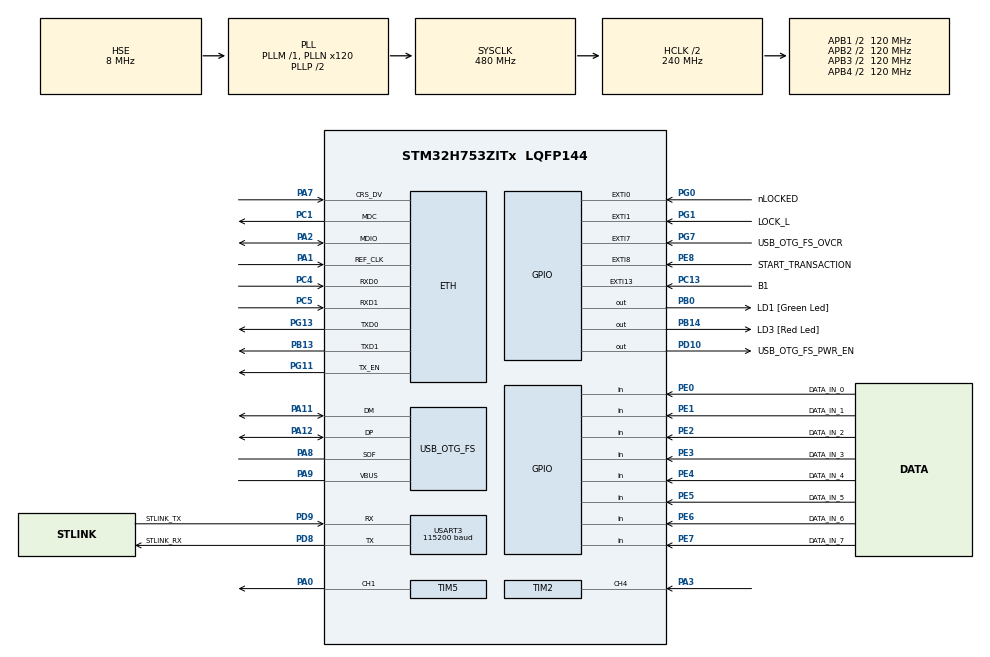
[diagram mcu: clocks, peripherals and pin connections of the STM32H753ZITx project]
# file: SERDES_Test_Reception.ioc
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CORTEX_M7.CPU_DCache=Disabled
CORTEX_M7.CPU_ICache=Disabled
CORTEX_M7.MPU_Control=__NULL
Dma.Request0=TIM2_CH4
Dma.TIM2_CH4.0.Direction=DMA_PERIPH_TO_MEMORY
Dma.TIM2_CH4.0.EventEnable=DISABLE
Dma.TIM2_CH4.0.FIFOMode=DMA_FIFOMODE_DISABLE
Dma.TIM2_CH4.0.Instance=DMA1_Stream1
Dma.TIM2_CH4.0.MemDataAlignment=DMA_MDATAALIGN_BYTE
Dma.TIM2_CH4.0.MemInc=DMA_MINC_ENABLE
Dma.TIM2_CH4.0.Mode=DMA_NORMAL
Dma.TIM2_CH4.0.PeriphDataAlignment=DMA_PDATAALIGN_BYTE
Dma.TIM2_CH4.0.PeriphInc=DMA_PINC_DISABLE
Dma.TIM2_CH4.0.Polarity=HAL_DMAMUX_REQ_GEN_RISING
Dma.TIM2_CH4.0.Priority=DMA_PRIORITY_LOW
Dma.TIM2_CH4.0.RequestNumber=1
Dma.TIM2_CH4.0.SignalID=NONE
Dma.TIM2_CH4.0.SyncEnable=DISABLE
Dma.TIM2_CH4.0.SyncPolarity=HAL_DMAMUX_SYNC_NO_EVENT
Dma.TIM2_CH4.0.SyncRequestNumber=1
Dma.TIM2_CH4.0.SyncSignalID=NONE
ETH.ETH_RX_DESC_CNT=4
ETH.ETH_TX_DESC_CNT=4
ETH.MACAddr=00\:80\:E1\:00\:00\:00
ETH.MediaInterface=HAL_ETH_RMII_MODE
ETH.RxBuffAddress=0x30040200
ETH.RxBuffLen=1524
ETH.RxDescAddress=0x30040000
ETH.TxDescAddress=0x30040060
Mcu.Family=STM32H7
Mcu.Name=STM32H753ZITx
Mcu.Package=LQFP144
NVIC.DMA1_Stream1_IRQn=true\:0\:0\:false\:false\:true\:false\:true\:true
NVIC.EXTI0_IRQn=true\:0\:0\:false\:false\:true\:true\:true\:true
NVIC.EXTI1_IRQn=true\:0\:0\:false\:false\:true\:true\:true\:true
NVIC.EXTI9_5_IRQn=true\:0\:0\:false\:false\:true\:true\:true\:true
NVIC.PriorityGroup=NVIC_PRIORITYGROUP_4
NVIC.TIM2_IRQn=true\:0\:0\:false\:false\:true\:true\:true\:true
PA0.Signal=S_TIM5_CH1
PA1.Mode=RMII
PA1.Signal=ETH_REF_CLK
PA11.Mode=Device_Only
PA11.Signal=USB_OTG_FS_DM
PA12.Mode=Device_Only
PA12.Signal=USB_OTG_FS_DP
PA2.Mode=RMII
PA2.Signal=ETH_MDIO
PA3.Signal=S_TIM2_CH4
PA7.Mode=RMII
PA7.Signal=ETH_CRS_DV
PA8.Mode=Activate_SOF_FS
PA8.Signal=USB_OTG_FS_SOF
PA9.Mode=Activate_VBUS
PA9.Signal=USB_OTG_FS_VBUS
PB0.GPIO_Label=LD1 [Green Led]
PB0.Signal=GPIO_Output
PB13.Mode=RMII
PB13.Signal=ETH_TXD1
PB14.GPIO_Label=LD3 [Red Led]
PB14.Signal=GPIO_Output
PC1.Mode=RMII
PC1.Signal=ETH_MDC
PC13.GPIO_Label=B1
PC13.Signal=GPXTI13
PC14-OSC32_IN\ (OSC32_IN).Mode=LSE-External-Oscillator
PC14-OSC32_IN\ (OSC32_IN).Signal=RCC_OSC32_IN
PC15-OSC32_OUT\ (OSC32_OUT).Mode=LSE-External-Oscillator
PC15-OSC32_OUT\ (OSC32_OUT).Signal=RCC_OSC32_OUT
PC4.Mode=RMII
PC4.Signal=ETH_RXD0
PC5.Mode=RMII
PC5.Signal=ETH_RXD1
PD10.GPIO_Label=USB_OTG_FS_PWR_EN
PD10.Signal=GPIO_Output
PD8.GPIO_Label=STLINK_RX
PD8.Mode=Asynchronous
PD8.Signal=USART3_TX
PD9.GPIO_Label=STLINK_TX
PD9.Mode=Asynchronous
PD9.Signal=USART3_RX
PE0.GPIO_Label=DATA_IN_0
PE0.GPIO_PuPd=GPIO_PULLDOWN
PE0.Signal=GPIO_Input
PE1.GPIO_Label=DATA_IN_1
PE1.GPIO_PuPd=GPIO_PULLDOWN
PE1.Signal=GPIO_Input
PE2.GPIO_Label=DATA_IN_2
PE2.GPIO_PuPd=GPIO_PULLDOWN
PE2.Signal=GPIO_Input
PE3.GPIO_Label=DATA_IN_3
PE3.GPIO_PuPd=GPIO_PULLDOWN
PE3.Signal=GPIO_Input
PE4.GPIO_Label=DATA_IN_4
PE4.GPIO_PuPd=GPIO_PULLDOWN
PE4.Signal=GPIO_Input
PE5.GPIO_Label=DATA_IN_5
PE5.GPIO_PuPd=GPIO_PULLDOWN
PE5.Signal=GPIO_Input
PE6.GPIO_Label=DATA_IN_6
PE6.GPIO_PuPd=GPIO_PULLDOWN
PE6.Signal=GPIO_Input
PE7.GPIO_Label=DATA_IN_7
PE7.GPIO_PuPd=GPIO_PULLDOWN
PE7.Signal=GPIO_Input
PE8.GPIO_Label=START_TRANSACTION
PE8.GPIO_PuPd=GPIO_PULLDOWN
PE8.Signal=GPXTI8
PG0.GPIO_Label=nLOCKED
PG0.GPIO_ModeDefaultEXTI=GPIO_MODE_IT_FALLING
PG0.GPIO_PuPd=GPIO_PULLUP
PG0.Signal=GPXTI0
PG1.GPIO_Label=LOCK_L
PG1.GPIO_ModeDefaultEXTI=GPIO_MODE_IT_FALLING
PG1.GPIO_PuPd=GPIO_PULLUP
PG1.Signal=GPXTI1
PG11.Mode=RMII
PG11.Signal=ETH_TX_EN
PG13.Mode=RMII
PG13.Signal=ETH_TXD0
PG7.GPIO_Label=USB_OTG_FS_OVCR
PG7.Signal=GPXTI7
PH0-OSC_IN\ (PH0).Mode=HSE-External-Clock-Source
PH0-OSC_IN\ (PH0).Signal=RCC_OSC_IN
PH1-OSC_OUT\ (PH1).Signal=RCC_OSC_OUT
ProjectManager.HeapSize=0x200
ProjectManager.StackSize=0x400
ProjectManager.TargetToolchain=STM32CubeIDE
RCC.ADCFreq_Value=16125000
RCC.APB1Freq_Value=120000000
RCC.APB2Freq_Value=120000000
RCC.APB3Freq_Value=120000000
RCC.APB4Freq_Value=120000000
RCC.CortexFreq_Value=480000000
RCC.D1PPRE=RCC_APB3_DIV2
RCC.D2PPRE1=RCC_APB1_DIV2
RCC.D2PPRE2=RCC_APB2_DIV2
RCC.D3PPRE=RCC_APB4_DIV2
RCC.DIVM1=1
RCC.DIVM3=4
RCC.DIVN1=120
RCC.DIVN3=100
RCC.DIVQ1=4
RCC.DIVQ3=4
RCC.HCLKFreq_Value=240000000
RCC.HPRE=RCC_HCLK_DIV2
RCC.HSE_VALUE=8000000
RCC.PLLFRACN=0
RCC.PWR_Regulator_Voltage_Scale=PWR_REGULATOR_VOLTAGE_SCALE0
RCC.SYSCLKFreq_VALUE=480000000
RCC.SYSCLKSource=RCC_SYSCLKSOURCE_PLLCLK
RCC.USBCLockSelection=RCC_USBCLKSOURCE_PLL3
RCC.USBFreq_Value=50000000
SH.S_TIM2_CH4.0=TIM2_CH4,Input_Capture4_from_TI4
SH.S_TIM5_CH1.0=TIM5_CH1,PWM Generation1 CH1
TIM2.Channel-Input_Capture4_from_TI4=TIM_CHANNEL_4
TIM2.ICFilter_CH4=0
TIM2.ICPolarity_CH4=TIM_INPUTCHANNELPOLARITY_FALLING
TIM2.TIM_MasterSlaveMode=TIM_MASTERSLAVEMODE_ENABLE
TIM5.Channel-PWM\ Generation1\ CH1=TIM_CHANNEL_1
TIM5.Period=15
TIM5.Pulse-PWM\ Generation1\ CH1=8
USART3.AutoBaudRateEnableParam=UART_ADVFEATURE_AUTOBAUDRATE_DISABLE
USART3.BaudRate=115200
USART3.ClockPrescaler=PRESCALER_DIV1
USART3.DMADisableonRxErrorParam=ADVFEATURE_DMA_ENABLEONRXERROR
USART3.DataInvertParam=ADVFEATURE_DATAINV_DISABLE
USART3.FIFOMode=FIFOMODE_DISABLE
USART3.MSBFirstParam=ADVFEATURE_MSBFIRST_DISABLE
USART3.Mode=MODE_TX_RX
USART3.OneBitSampling=UART_ONE_BIT_SAMPLE_DISABLE
USART3.OverSampling=UART_OVERSAMPLING_16
USART3.OverrunDisableParam=ADVFEATURE_OVERRUN_ENABLE
USART3.Parity=PARITY_NONE
USART3.RXFIFOThreshold=RXFIFO_THRESHOLD_1EIGHTHFULL
USART3.RxPinLevelInvertParam=ADVFEATURE_RXINV_DISABLE
USART3.StopBits=STOPBITS_1
USART3.SwapParam=ADVFEATURE_SWAP_DISABLE
USART3.TXFIFOThreshold=TXFIFO_THRESHOLD_1EIGHTHFULL
USART3.TxPinLevelInvertParam=ADVFEATURE_TXINV_DISABLE
USART3.VirtualMode-Asynchronous=VM_ASYNC
USART3.WordLength=WORDLENGTH_8B
USB_OTG_FS.Sof_enable=ENABLE
USB_OTG_FS.VirtualMode=Device_Only
USB_OTG_FS.battery_charging_enable=ENABLE
USB_OTG_FS.low_power_enable=DISABLE
USB_OTG_FS.lpm_enable=DISABLE
USB_OTG_FS.use_dedicated_ep1=DISABLE
USB_OTG_FS.vbus_sensing_enable=ENABLE
board=NUCLEO-H753ZI

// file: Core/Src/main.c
/* USER CODE BEGIN Header */
/**
  ******************************************************************************
  * @file           : main.c
  * @brief          : Main program body
  ******************************************************************************
  * @attention
  *
  * Copyright (c) 2022 STMicroelectronics.
  * All rights reserved.
  *
  * This software is licensed under terms that can be found in the LICENSE file
  * in the root directory of this software component.
  * If no LICENSE file comes with this software, it is provided AS-IS.
  *
  ******************************************************************************
  */
/* USER CODE END Header */
#include "main.h"
#include "string.h"

#if defined ( __ICCARM__ ) /*!< IAR Compiler */
#pragma location=0x30040000
ETH_DMADescTypeDef  DMARxDscrTab[ETH_RX_DESC_CNT]; /* Ethernet Rx DMA Descriptors */
#pragma location=0x30040060
ETH_DMADescTypeDef  DMATxDscrTab[ETH_TX_DESC_CNT]; /* Ethernet Tx DMA Descriptors */
#pragma location=0x30040200
uint8_t Rx_Buff[ETH_RX_DESC_CNT][ETH_MAX_PACKET_SIZE]; /* Ethernet Receive Buffers */

#elif defined ( __CC_ARM )  /* MDK ARM Compiler */

__attribute__((at(0x30040000))) ETH_DMADescTypeDef  DMARxDscrTab[ETH_RX_DESC_CNT]; /* Ethernet Rx DMA Descriptors */
__attribute__((at(0x30040060))) ETH_DMADescTypeDef  DMATxDscrTab[ETH_TX_DESC_CNT]; /* Ethernet Tx DMA Descriptors */
__attribute__((at(0x30040200))) uint8_t Rx_Buff[ETH_RX_DESC_CNT][ETH_MAX_PACKET_SIZE]; /* Ethernet Receive Buffer */

#elif defined ( __GNUC__ ) /* GNU Compiler */
ETH_DMADescTypeDef DMARxDscrTab[ETH_RX_DESC_CNT] __attribute__((section(".RxDecripSection"))); /* Ethernet Rx DMA Descriptors */
ETH_DMADescTypeDef DMATxDscrTab[ETH_TX_DESC_CNT] __attribute__((section(".TxDecripSection")));   /* Ethernet Tx DMA Descriptors */
uint8_t Rx_Buff[ETH_RX_DESC_CNT][ETH_MAX_PACKET_SIZE] __attribute__((section(".RxArraySection"))); /* Ethernet Receive Buffers */
#endif

ETH_TxPacketConfig TxConfig;

ETH_HandleTypeDef heth;

TIM_HandleTypeDef htim2;
TIM_HandleTypeDef htim5;
DMA_HandleTypeDef hdma_tim2_ch4;

UART_HandleTypeDef huart3;

PCD_HandleTypeDef hpcd_USB_OTG_FS;

/* USER CODE BEGIN PV */

#define TRANSFER_SIZE		10010					// size of the message in bytes

static void TransferComplete(DMA_HandleTypeDef *DmaHandle);

uint32_t Counter = 0;

uint8_t RecievedData[TRANSFER_SIZE] = {0};

/* USER CODE END PV */

void SystemClock_Config(void);
static void MX_GPIO_Init(void);
static void MX_ETH_Init(void);
static void MX_DMA_Init(void);
static void MX_USB_OTG_FS_PCD_Init(void);
static void MX_TIM2_Init(void);
static void MX_USART3_UART_Init(void);
static void MX_TIM5_Init(void);

int main(void)
{

  /* MCU Configuration--------------------------------------------------------*/

  /* Reset of all peripherals, Initializes the Flash interface and the Systick. */
  HAL_Init();

  /* Configure the system clock */
  SystemClock_Config();

  /* Initialize all configured peripherals */
  MX_GPIO_Init();
  MX_ETH_Init();
  MX_DMA_Init();
  MX_USB_OTG_FS_PCD_Init();
  MX_TIM2_Init();
  MX_USART3_UART_Init();
  MX_TIM5_Init();
  /* USER CODE BEGIN 2 */

  //Enable Ref clock for PLL of SERDES... Bad Idea because we need stable clock at both side of data communication
  //HAL_TIM_PWM_Start(&htim5, TIM_CHANNEL_1);

  	// Create a function for DMA Transfer complete interruption
  	  hdma_tim2_ch4.XferCpltCallback = TransferComplete;

	// Enable interrupt for DMA (Transfer completed)
	__HAL_DMA_ENABLE_IT(&hdma_tim2_ch4, DMA_IT_TC);

	// Start DMA transfer from GPIO Port E to memory
	HAL_DMA_Start(&hdma_tim2_ch4, (uint32_t) &GPIOE->IDR, (uint32_t) RecievedData, TRANSFER_SIZE);

	// Start input capture of the TIMER 2 at pin PA3 (Channel 4 of the TIMER)
	HAL_TIM_IC_Start(&htim2, TIM_CHANNEL_4);

  /* USER CODE END 2 */

  /* Infinite loop */
  /* USER CODE BEGIN WHILE */
  while (1)
  {

	  HAL_GPIO_TogglePin(LD3_GPIO_Port, LD3_Pin);
	  HAL_Delay(500);

    /* USER CODE END WHILE */

  }
}

void SystemClock_Config(void)
{
  RCC_OscInitTypeDef RCC_OscInitStruct = {0};
  RCC_ClkInitTypeDef RCC_ClkInitStruct = {0};

  /** Supply configuration update enable
  */
  HAL_PWREx_ConfigSupply(PWR_LDO_SUPPLY);

  /** Configure the main internal regulator output voltage
  */
  __HAL_PWR_VOLTAGESCALING_CONFIG(PWR_REGULATOR_VOLTAGE_SCALE0);

  while(!__HAL_PWR_GET_FLAG(PWR_FLAG_VOSRDY)) {}

  /** Macro to configure the PLL clock source
  */
  __HAL_RCC_PLL_PLLSOURCE_CONFIG(RCC_PLLSOURCE_HSE);

  /** Initializes the RCC Oscillators according to the specified parameters
  * in the RCC_OscInitTypeDef structure.
  */
  RCC_OscInitStruct.OscillatorType = RCC_OSCILLATORTYPE_HSE;
  RCC_OscInitStruct.HSEState = RCC_HSE_BYPASS;
  RCC_OscInitStruct.PLL.PLLState = RCC_PLL_ON;
  RCC_OscInitStruct.PLL.PLLSource = RCC_PLLSOURCE_HSE;
  RCC_OscInitStruct.PLL.PLLM = 1;
  RCC_OscInitStruct.PLL.PLLN = 120;
  RCC_OscInitStruct.PLL.PLLP = 2;
  RCC_OscInitStruct.PLL.PLLQ = 4;
  RCC_OscInitStruct.PLL.PLLR = 2;
  RCC_OscInitStruct.PLL.PLLRGE = RCC_PLL1VCIRANGE_3;
  RCC_OscInitStruct.PLL.PLLVCOSEL = RCC_PLL1VCOWIDE;
  RCC_OscInitStruct.PLL.PLLFRACN = 0;
  if (HAL_RCC_OscConfig(&RCC_OscInitStruct) != HAL_OK)
  {
    Error_Handler();
  }

  /** Initializes the CPU, AHB and APB buses clocks
  */
  RCC_ClkInitStruct.ClockType = RCC_CLOCKTYPE_HCLK|RCC_CLOCKTYPE_SYSCLK
                              |RCC_CLOCKTYPE_PCLK1|RCC_CLOCKTYPE_PCLK2
                              |RCC_CLOCKTYPE_D3PCLK1|RCC_CLOCKTYPE_D1PCLK1;
  RCC_ClkInitStruct.SYSCLKSource = RCC_SYSCLKSOURCE_PLLCLK;
  RCC_ClkInitStruct.SYSCLKDivider = RCC_SYSCLK_DIV1;
  RCC_ClkInitStruct.AHBCLKDivider = RCC_HCLK_DIV2;
  RCC_ClkInitStruct.APB3CLKDivider = RCC_APB3_DIV2;
  RCC_ClkInitStruct.APB1CLKDivider = RCC_APB1_DIV2;
  RCC_ClkInitStruct.APB2CLKDivider = RCC_APB2_DIV2;
  RCC_ClkInitStruct.APB4CLKDivider = RCC_APB4_DIV2;

  if (HAL_RCC_ClockConfig(&RCC_ClkInitStruct, FLASH_LATENCY_4) != HAL_OK)
  {
    Error_Handler();
  }
}

static void MX_ETH_Init(void)
{

   static uint8_t MACAddr[6];

  heth.Instance = ETH;
  MACAddr[0] = 0x00;
  MACAddr[1] = 0x80;
  MACAddr[2] = 0xE1;
  MACAddr[3] = 0x00;
  MACAddr[4] = 0x00;
  MACAddr[5] = 0x00;
  heth.Init.MACAddr = &MACAddr[0];
  heth.Init.MediaInterface = HAL_ETH_RMII_MODE;
  heth.Init.TxDesc = DMATxDscrTab;
  heth.Init.RxDesc = DMARxDscrTab;
  heth.Init.RxBuffLen = 1524;

  if (HAL_ETH_Init(&heth) != HAL_OK)
  {
    Error_Handler();
  }

  memset(&TxConfig, 0 , sizeof(ETH_TxPacketConfig));
  TxConfig.Attributes = ETH_TX_PACKETS_FEATURES_CSUM | ETH_TX_PACKETS_FEATURES_CRCPAD;
  TxConfig.ChecksumCtrl = ETH_CHECKSUM_IPHDR_PAYLOAD_INSERT_PHDR_CALC;
  TxConfig.CRCPadCtrl = ETH_CRC_PAD_INSERT;

}

static void MX_TIM2_Init(void)
{

  TIM_MasterConfigTypeDef sMasterConfig = {0};
  TIM_IC_InitTypeDef sConfigIC = {0};

  htim2.Instance = TIM2;
  htim2.Init.Prescaler = 0;
  htim2.Init.CounterMode = TIM_COUNTERMODE_UP;
  htim2.Init.Period = 4294967295;
  htim2.Init.ClockDivision = TIM_CLOCKDIVISION_DIV1;
  htim2.Init.AutoReloadPreload = TIM_AUTORELOAD_PRELOAD_DISABLE;
  if (HAL_TIM_IC_Init(&htim2) != HAL_OK)
  {
    Error_Handler();
  }
  sMasterConfig.MasterOutputTrigger = TIM_TRGO_RESET;
  sMasterConfig.MasterSlaveMode = TIM_MASTERSLAVEMODE_ENABLE;
  if (HAL_TIMEx_MasterConfigSynchronization(&htim2, &sMasterConfig) != HAL_OK)
  {
    Error_Handler();
  }
  sConfigIC.ICPolarity = TIM_INPUTCHANNELPOLARITY_FALLING;
  sConfigIC.ICSelection = TIM_ICSELECTION_DIRECTTI;
  sConfigIC.ICPrescaler = TIM_ICPSC_DIV1;
  sConfigIC.ICFilter = 0;
  if (HAL_TIM_IC_ConfigChannel(&htim2, &sConfigIC, TIM_CHANNEL_4) != HAL_OK)
  {
    Error_Handler();
  }

}

static void MX_TIM5_Init(void)
{

  TIM_MasterConfigTypeDef sMasterConfig = {0};
  TIM_OC_InitTypeDef sConfigOC = {0};

  htim5.Instance = TIM5;
  htim5.Init.Prescaler = 0;
  htim5.Init.CounterMode = TIM_COUNTERMODE_UP;
  htim5.Init.Period = 15;
  htim5.Init.ClockDivision = TIM_CLOCKDIVISION_DIV1;
  htim5.Init.AutoReloadPreload = TIM_AUTORELOAD_PRELOAD_DISABLE;
  if (HAL_TIM_PWM_Init(&htim5) != HAL_OK)
  {
    Error_Handler();
  }
  sMasterConfig.MasterOutputTrigger = TIM_TRGO_RESET;
  sMasterConfig.MasterSlaveMode = TIM_MASTERSLAVEMODE_DISABLE;
  if (HAL_TIMEx_MasterConfigSynchronization(&htim5, &sMasterConfig) != HAL_OK)
  {
    Error_Handler();
  }
  sConfigOC.OCMode = TIM_OCMODE_PWM1;
  sConfigOC.Pulse = 8;
  sConfigOC.OCPolarity = TIM_OCPOLARITY_HIGH;
  sConfigOC.OCFastMode = TIM_OCFAST_DISABLE;
  if (HAL_TIM_PWM_ConfigChannel(&htim5, &sConfigOC, TIM_CHANNEL_1) != HAL_OK)
  {
    Error_Handler();
  }
  HAL_TIM_MspPostInit(&htim5);

}

static void MX_USART3_UART_Init(void)
{

  huart3.Instance = USART3;
  huart3.Init.BaudRate = 115200;
  huart3.Init.WordLength = UART_WORDLENGTH_8B;
  huart3.Init.StopBits = UART_STOPBITS_1;
  huart3.Init.Parity = UART_PARITY_NONE;
  huart3.Init.Mode = UART_MODE_TX_RX;
  huart3.Init.HwFlowCtl = UART_HWCONTROL_NONE;
  huart3.Init.OverSampling = UART_OVERSAMPLING_16;
  huart3.Init.OneBitSampling = UART_ONE_BIT_SAMPLE_DISABLE;
  huart3.Init.ClockPrescaler = UART_PRESCALER_DIV1;
  huart3.AdvancedInit.AdvFeatureInit = UART_ADVFEATURE_NO_INIT;
  if (HAL_UART_Init(&huart3) != HAL_OK)
  {
    Error_Handler();
  }
  if (HAL_UARTEx_SetTxFifoThreshold(&huart3, UART_TXFIFO_THRESHOLD_1_8) != HAL_OK)
  {
    Error_Handler();
  }
  if (HAL_UARTEx_SetRxFifoThreshold(&huart3, UART_RXFIFO_THRESHOLD_1_8) != HAL_OK)
  {
    Error_Handler();
  }
  if (HAL_UARTEx_DisableFifoMode(&huart3) != HAL_OK)
  {
    Error_Handler();
  }

}

static void MX_USB_OTG_FS_PCD_Init(void)
{

  hpcd_USB_OTG_FS.Instance = USB_OTG_FS;
  hpcd_USB_OTG_FS.Init.dev_endpoints = 9;
  hpcd_USB_OTG_FS.Init.speed = PCD_SPEED_FULL;
  hpcd_USB_OTG_FS.Init.dma_enable = DISABLE;
  hpcd_USB_OTG_FS.Init.phy_itface = PCD_PHY_EMBEDDED;
  hpcd_USB_OTG_FS.Init.Sof_enable = ENABLE;
  hpcd_USB_OTG_FS.Init.low_power_enable = DISABLE;
  hpcd_USB_OTG_FS.Init.lpm_enable = DISABLE;
  hpcd_USB_OTG_FS.Init.battery_charging_enable = ENABLE;
  hpcd_USB_OTG_FS.Init.vbus_sensing_enable = ENABLE;
  hpcd_USB_OTG_FS.Init.use_dedicated_ep1 = DISABLE;
  if (HAL_PCD_Init(&hpcd_USB_OTG_FS) != HAL_OK)
  {
    Error_Handler();
  }

}

static void MX_DMA_Init(void)
{

  /* DMA controller clock enable */
  __HAL_RCC_DMA1_CLK_ENABLE();

  /* DMA interrupt init */
  /* DMA1_Stream1_IRQn interrupt configuration */
  HAL_NVIC_SetPriority(DMA1_Stream1_IRQn, 0, 0);
  HAL_NVIC_EnableIRQ(DMA1_Stream1_IRQn);

}

static void MX_GPIO_Init(void)
{
  GPIO_InitTypeDef GPIO_InitStruct = {0};

  /* GPIO Ports Clock Enable */
  __HAL_RCC_GPIOE_CLK_ENABLE();
  __HAL_RCC_GPIOC_CLK_ENABLE();
  __HAL_RCC_GPIOH_CLK_ENABLE();
  __HAL_RCC_GPIOA_CLK_ENABLE();
  __HAL_RCC_GPIOB_CLK_ENABLE();
  __HAL_RCC_GPIOG_CLK_ENABLE();
  __HAL_RCC_GPIOD_CLK_ENABLE();

  /*Configure GPIO pin Output Level */
  HAL_GPIO_WritePin(GPIOB, LD1_Pin|LD3_Pin, GPIO_PIN_RESET);

  /*Configure GPIO pin Output Level */
  HAL_GPIO_WritePin(USB_OTG_FS_PWR_EN_GPIO_Port, USB_OTG_FS_PWR_EN_Pin, GPIO_PIN_RESET);

  /*Configure GPIO pins : DATA_IN_2_Pin DATA_IN_3_Pin DATA_IN_4_Pin DATA_IN_5_Pin
                           DATA_IN_6_Pin DATA_IN_7_Pin DATA_IN_0_Pin DATA_IN_1_Pin */
  GPIO_InitStruct.Pin = DATA_IN_2_Pin|DATA_IN_3_Pin|DATA_IN_4_Pin|DATA_IN_5_Pin
                          |DATA_IN_6_Pin|DATA_IN_7_Pin|DATA_IN_0_Pin|DATA_IN_1_Pin;
  GPIO_InitStruct.Mode = GPIO_MODE_INPUT;
  GPIO_InitStruct.Pull = GPIO_PULLDOWN;
  HAL_GPIO_Init(GPIOE, &GPIO_InitStruct);

  /*Configure GPIO pin : B1_Pin */
  GPIO_InitStruct.Pin = B1_Pin;
  GPIO_InitStruct.Mode = GPIO_MODE_IT_RISING;
  GPIO_InitStruct.Pull = GPIO_NOPULL;
  HAL_GPIO_Init(B1_GPIO_Port, &GPIO_InitStruct);

  /*Configure GPIO pins : LD1_Pin LD3_Pin */
  GPIO_InitStruct.Pin = LD1_Pin|LD3_Pin;
  GPIO_InitStruct.Mode = GPIO_MODE_OUTPUT_PP;
  GPIO_InitStruct.Pull = GPIO_NOPULL;
  GPIO_InitStruct.Speed = GPIO_SPEED_FREQ_LOW;
  HAL_GPIO_Init(GPIOB, &GPIO_InitStruct);

  /*Configure GPIO pins : nLOCKED_Pin LOCK_L_Pin */
  GPIO_InitStruct.Pin = nLOCKED_Pin|LOCK_L_Pin;
  GPIO_InitStruct.Mode = GPIO_MODE_IT_FALLING;
  GPIO_InitStruct.Pull = GPIO_PULLUP;
  HAL_GPIO_Init(GPIOG, &GPIO_InitStruct);

  /*Configure GPIO pin : START_TRANSACTION_Pin */
  GPIO_InitStruct.Pin = START_TRANSACTION_Pin;
  GPIO_InitStruct.Mode = GPIO_MODE_IT_RISING;
  GPIO_InitStruct.Pull = GPIO_PULLDOWN;
  HAL_GPIO_Init(START_TRANSACTION_GPIO_Port, &GPIO_InitStruct);

  /*Configure GPIO pin : USB_OTG_FS_PWR_EN_Pin */
  GPIO_InitStruct.Pin = USB_OTG_FS_PWR_EN_Pin;
  GPIO_InitStruct.Mode = GPIO_MODE_OUTPUT_PP;
  GPIO_InitStruct.Pull = GPIO_NOPULL;
  GPIO_InitStruct.Speed = GPIO_SPEED_FREQ_LOW;
  HAL_GPIO_Init(USB_OTG_FS_PWR_EN_GPIO_Port, &GPIO_InitStruct);

  /*Configure GPIO pin : USB_OTG_FS_OVCR_Pin */
  GPIO_InitStruct.Pin = USB_OTG_FS_OVCR_Pin;
  GPIO_InitStruct.Mode = GPIO_MODE_IT_RISING;
  GPIO_InitStruct.Pull = GPIO_NOPULL;
  HAL_GPIO_Init(USB_OTG_FS_OVCR_GPIO_Port, &GPIO_InitStruct);

  /* EXTI interrupt init*/
  HAL_NVIC_SetPriority(EXTI0_IRQn, 0, 0);
  HAL_NVIC_EnableIRQ(EXTI0_IRQn);

  HAL_NVIC_SetPriority(EXTI1_IRQn, 0, 0);
  HAL_NVIC_EnableIRQ(EXTI1_IRQn);

  HAL_NVIC_SetPriority(EXTI9_5_IRQn, 0, 0);
  HAL_NVIC_EnableIRQ(EXTI9_5_IRQn);

}

/* USER CODE BEGIN 4 */

static void TransferComplete(DMA_HandleTypeDef *DmaHandle)
{
	TIM2->DIER &=~ TIM_DIER_CC4DE;
	HAL_UART_Transmit(&huart3, RecievedData, TRANSFER_SIZE, 10);
	/*
	// Find start of the message
	for (uint32_t i=0; i<TRANSFER_SIZE; i++)
	{
		if (RecievedData[i] == 76)
		{
			// Find the first symbol, extract data, send message to user
			HAL_UART_Transmit(&huart3, &RecievedData[i], 10000, 10);
			break;
		}
		else
			i++;
	}
	*/

	//HAL_UART_Transmit(&huart3, RecievedData, TRANSFER_SIZE, 10);

	// Enable interrupt for DMA (Transfer completed)
	__HAL_DMA_ENABLE_IT(&hdma_tim2_ch4, DMA_IT_TC);

	// Start DMA transfer from GPIO Port E
	HAL_DMA_Start(&hdma_tim2_ch4, (uint32_t) &GPIOE->IDR, (uint32_t) RecievedData, TRANSFER_SIZE);

	// Start input capture of the TIMER 2 at pin PA3 (Channel 4 of the TIMER)
	HAL_TIM_IC_Start(&htim2, TIM_CHANNEL_4);

}

void HAL_GPIO_EXTI_Callback(uint16_t GPIO_Pin)
{
	//check if it is GPIO0 (LOCKED signal)
	if (GPIO_Pin == GPIO_PIN_0)
	{
		// Enable DMA request for input capture event, start data reception
		// Every falling edge of the input PWM data will be transfered from GPIOE 0-7 to Memory
		TIM2->DIER |= TIM_DIER_CC4DE;
	}
}

/* USER CODE END 4 */

void Error_Handler(void)
{
  __disable_irq();
  while (1)
  {
  }
}
